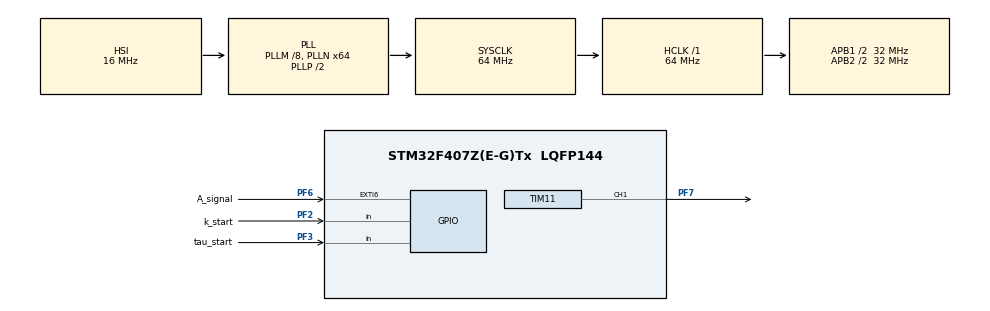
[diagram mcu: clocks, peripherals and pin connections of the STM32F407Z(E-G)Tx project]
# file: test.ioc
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Mcu.Family=STM32F4
Mcu.Name=STM32F407Z(E-G)Tx
Mcu.Package=LQFP144
NVIC.EXTI9_5_IRQn=true\:0\:0\:false\:false\:true\:true\:true\:true
NVIC.PriorityGroup=NVIC_PRIORITYGROUP_4
NVIC.TIM6_DAC_IRQn=true\:0\:0\:false\:false\:true\:true\:true\:true
NVIC.TIM7_IRQn=true\:0\:0\:false\:false\:true\:true\:true\:true
PF2.GPIO_Label=k_start
PF2.Signal=GPIO_Input
PF3.GPIO_Label=tau_start
PF3.Signal=GPIO_Input
PF6.GPIO_Label=A_signal
PF6.Signal=GPXTI6
PF7.Signal=S_TIM11_CH1
ProjectManager.HeapSize=0x200
ProjectManager.StackSize=0x400
ProjectManager.TargetToolchain=STM32CubeIDE
RCC.48MHZClocksFreq_Value=32000000
RCC.AHBFreq_Value=64000000
RCC.APB1CLKDivider=RCC_HCLK_DIV2
RCC.APB1Freq_Value=32000000
RCC.APB1TimFreq_Value=64000000
RCC.APB2CLKDivider=RCC_HCLK_DIV2
RCC.APB2Freq_Value=32000000
RCC.APB2TimFreq_Value=64000000
RCC.CortexFreq_Value=64000000
RCC.HCLKFreq_Value=64000000
RCC.HSE_VALUE=25000000
RCC.HSI_VALUE=16000000
RCC.LSE_VALUE=32768
RCC.PLLM=8
RCC.PLLN=64
RCC.SYSCLKFreq_VALUE=64000000
RCC.SYSCLKSource=RCC_SYSCLKSOURCE_PLLCLK
RCC.VCOOutputFreq_Value=128000000
SH.S_TIM11_CH1.0=TIM11_CH1,PWM Generation1 CH1
TIM10.Period=999
TIM10.Prescaler=63
TIM11.AutoReloadPreload=TIM_AUTORELOAD_PRELOAD_ENABLE
TIM11.Channel=TIM_CHANNEL_1
TIM11.Period=1000
TIM11.Prescaler=3
TIM11.Pulse=500
TIM6.Period=65535
TIM6.Prescaler=15999
TIM7.Period=999
TIM7.Prescaler=6399
VP_TIM10_VS_ClockSourceINT.Mode=Enable_Timer
VP_TIM11_VS_ClockSourceINT.Mode=Enable_Timer
VP_TIM6_VS_ClockSourceINT.Mode=Enable_Timer
VP_TIM7_VS_ClockSourceINT.Mode=Enable_Timer
board=custom

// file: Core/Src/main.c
/* USER CODE BEGIN Header */
/**
  ******************************************************************************
  * @file           : main.c
  * @brief          : Main program body
  ******************************************************************************
  * @attention
  *
  * Copyright (c) 2023 STMicroelectronics.
  * All rights reserved.
  *
  * This software is licensed under terms that can be found in the LICENSE file
  * in the root directory of this software component.
  * If no LICENSE file comes with this software, it is provided AS-IS.
  *
  ******************************************************************************
  */
/* USER CODE END Header */
#include "main.h"

TIM_HandleTypeDef htim6;
TIM_HandleTypeDef htim7;
TIM_HandleTypeDef htim10;
TIM_HandleTypeDef htim11;

/* USER CODE BEGIN PV */
int A_count=0;
int num_A_sample=0;
float rpmNow=0;
float rpmStart,rpmEnd;
float k;
float tau;
enum status{idle, k_calc, tau_calc};
enum status state;
/* USER CODE END PV */

void SystemClock_Config(void);
static void MX_GPIO_Init(void);
static void MX_TIM6_Init(void);
static void MX_TIM7_Init(void);
static void MX_TIM11_Init(void);
static void MX_TIM10_Init(void);

int main(void)
{
  /* USER CODE BEGIN 1 */

	// External Interrupt ISR Handler CallBackFun

  /* USER CODE END 1 */

  /* MCU Configuration--------------------------------------------------------*/

  /* Reset of all peripherals, Initializes the Flash interface and the Systick. */
  HAL_Init();

  /* Configure the system clock */
  SystemClock_Config();

  /* Initialize all configured peripherals */
  MX_GPIO_Init();
  MX_TIM6_Init();
  MX_TIM7_Init();
  MX_TIM11_Init();
  MX_TIM10_Init();
  /* USER CODE BEGIN 2 */
  HAL_TIM_Base_Start_IT(&htim7);

  HAL_TIM_PWM_Start(&htim11, TIM_CHANNEL_1);

  /* USER CODE END 2 */

  /* Infinite loop */
  /* USER CODE BEGIN WHILE */
  while (1)
  {
	  state=idle;
	  if(HAL_GPIO_ReadPin(k_start_GPIO_Port, k_start_Pin)){
		  state = k_calc;
	  }
	  else if(HAL_GPIO_ReadPin(tau_start_GPIO_Port,tau_start_Pin)){
		  state = tau_calc;
	  }

	  TIM11->CCR1=400;
	  rpmStart=(num_A_sample*600)/1024;

	  switch(state)
	  {

	  /*
	  case idle:
		  TIM11->CCR1=400;
		  break;
		  */
	  case k_calc:

		  //TIM11->CCR1=400;
		  //rpm1=(number_A_sampled*600)/1024;
		  TIM11->CCR1=700;
		  HAL_Delay(2000);
		  rpmEnd=(num_A_sample*600)/1024;
		  k = (rpmEnd-rpmStart)*100/((70-40)*12);
		  HAL_Delay(2000);

		  break;

	  case tau_calc:

		  TIM11->CCR1=400;
		  HAL_Delay(2000);
		  TIM11->CCR1=700;
		  HAL_TIM_Base_Start(&htim10);

		  while(1){

			  rpmNow = (num_A_sample*600)/1024;
			  if(rpmNow>=.63*(rpmEnd-rpmStart)){
			  	HAL_TIM_Base_Stop(&htim10);
			  	tau=__HAL_TIM_GetCounter(&htim10);
			  	break;
		          }

		  }
		  break;
	  }

    /* USER CODE END WHILE */

   }
}

void SystemClock_Config(void)
{
  RCC_OscInitTypeDef RCC_OscInitStruct = {0};
  RCC_ClkInitTypeDef RCC_ClkInitStruct = {0};

  /** Configure the main internal regulator output voltage
  */
  __HAL_RCC_PWR_CLK_ENABLE();
  __HAL_PWR_VOLTAGESCALING_CONFIG(PWR_REGULATOR_VOLTAGE_SCALE1);

  /** Initializes the RCC Oscillators according to the specified parameters
  * in the RCC_OscInitTypeDef structure.
  */
  RCC_OscInitStruct.OscillatorType = RCC_OSCILLATORTYPE_HSI;
  RCC_OscInitStruct.HSIState = RCC_HSI_ON;
  RCC_OscInitStruct.HSICalibrationValue = RCC_HSICALIBRATION_DEFAULT;
  RCC_OscInitStruct.PLL.PLLState = RCC_PLL_ON;
  RCC_OscInitStruct.PLL.PLLSource = RCC_PLLSOURCE_HSI;
  RCC_OscInitStruct.PLL.PLLM = 8;
  RCC_OscInitStruct.PLL.PLLN = 64;
  RCC_OscInitStruct.PLL.PLLP = RCC_PLLP_DIV2;
  RCC_OscInitStruct.PLL.PLLQ = 4;
  if (HAL_RCC_OscConfig(&RCC_OscInitStruct) != HAL_OK)
  {
    Error_Handler();
  }

  /** Initializes the CPU, AHB and APB buses clocks
  */
  RCC_ClkInitStruct.ClockType = RCC_CLOCKTYPE_HCLK|RCC_CLOCKTYPE_SYSCLK
                              |RCC_CLOCKTYPE_PCLK1|RCC_CLOCKTYPE_PCLK2;
  RCC_ClkInitStruct.SYSCLKSource = RCC_SYSCLKSOURCE_PLLCLK;
  RCC_ClkInitStruct.AHBCLKDivider = RCC_SYSCLK_DIV1;
  RCC_ClkInitStruct.APB1CLKDivider = RCC_HCLK_DIV2;
  RCC_ClkInitStruct.APB2CLKDivider = RCC_HCLK_DIV2;

  if (HAL_RCC_ClockConfig(&RCC_ClkInitStruct, FLASH_LATENCY_2) != HAL_OK)
  {
    Error_Handler();
  }
}

static void MX_TIM6_Init(void)
{

  TIM_MasterConfigTypeDef sMasterConfig = {0};

  htim6.Instance = TIM6;
  htim6.Init.Prescaler = 15999;
  htim6.Init.CounterMode = TIM_COUNTERMODE_UP;
  htim6.Init.Period = 65535;
  htim6.Init.AutoReloadPreload = TIM_AUTORELOAD_PRELOAD_DISABLE;
  if (HAL_TIM_Base_Init(&htim6) != HAL_OK)
  {
    Error_Handler();
  }
  sMasterConfig.MasterOutputTrigger = TIM_TRGO_RESET;
  sMasterConfig.MasterSlaveMode = TIM_MASTERSLAVEMODE_DISABLE;
  if (HAL_TIMEx_MasterConfigSynchronization(&htim6, &sMasterConfig) != HAL_OK)
  {
    Error_Handler();
  }

}

static void MX_TIM7_Init(void)
{

  TIM_MasterConfigTypeDef sMasterConfig = {0};

  htim7.Instance = TIM7;
  htim7.Init.Prescaler = 6399;
  htim7.Init.CounterMode = TIM_COUNTERMODE_UP;
  htim7.Init.Period = 999;
  htim7.Init.AutoReloadPreload = TIM_AUTORELOAD_PRELOAD_DISABLE;
  if (HAL_TIM_Base_Init(&htim7) != HAL_OK)
  {
    Error_Handler();
  }
  sMasterConfig.MasterOutputTrigger = TIM_TRGO_RESET;
  sMasterConfig.MasterSlaveMode = TIM_MASTERSLAVEMODE_DISABLE;
  if (HAL_TIMEx_MasterConfigSynchronization(&htim7, &sMasterConfig) != HAL_OK)
  {
    Error_Handler();
  }

}

static void MX_TIM10_Init(void)
{

  htim10.Instance = TIM10;
  htim10.Init.Prescaler = 63;
  htim10.Init.CounterMode = TIM_COUNTERMODE_UP;
  htim10.Init.Period = 999;
  htim10.Init.ClockDivision = TIM_CLOCKDIVISION_DIV1;
  htim10.Init.AutoReloadPreload = TIM_AUTORELOAD_PRELOAD_DISABLE;
  if (HAL_TIM_Base_Init(&htim10) != HAL_OK)
  {
    Error_Handler();
  }

}

static void MX_TIM11_Init(void)
{

  TIM_OC_InitTypeDef sConfigOC = {0};

  htim11.Instance = TIM11;
  htim11.Init.Prescaler = 3;
  htim11.Init.CounterMode = TIM_COUNTERMODE_UP;
  htim11.Init.Period = 1000;
  htim11.Init.ClockDivision = TIM_CLOCKDIVISION_DIV1;
  htim11.Init.AutoReloadPreload = TIM_AUTORELOAD_PRELOAD_ENABLE;
  if (HAL_TIM_Base_Init(&htim11) != HAL_OK)
  {
    Error_Handler();
  }
  if (HAL_TIM_PWM_Init(&htim11) != HAL_OK)
  {
    Error_Handler();
  }
  sConfigOC.OCMode = TIM_OCMODE_PWM1;
  sConfigOC.Pulse = 500;
  sConfigOC.OCPolarity = TIM_OCPOLARITY_HIGH;
  sConfigOC.OCFastMode = TIM_OCFAST_DISABLE;
  if (HAL_TIM_PWM_ConfigChannel(&htim11, &sConfigOC, TIM_CHANNEL_1) != HAL_OK)
  {
    Error_Handler();
  }
  HAL_TIM_MspPostInit(&htim11);

}

static void MX_GPIO_Init(void)
{
  GPIO_InitTypeDef GPIO_InitStruct = {0};

  /* GPIO Ports Clock Enable */
  __HAL_RCC_GPIOF_CLK_ENABLE();

  /*Configure GPIO pins : k_start_Pin tau_start_Pin */
  GPIO_InitStruct.Pin = k_start_Pin|tau_start_Pin;
  GPIO_InitStruct.Mode = GPIO_MODE_INPUT;
  GPIO_InitStruct.Pull = GPIO_NOPULL;
  HAL_GPIO_Init(GPIOF, &GPIO_InitStruct);

  /*Configure GPIO pin : A_signal_Pin */
  GPIO_InitStruct.Pin = A_signal_Pin;
  GPIO_InitStruct.Mode = GPIO_MODE_IT_RISING;
  GPIO_InitStruct.Pull = GPIO_NOPULL;
  HAL_GPIO_Init(A_signal_GPIO_Port, &GPIO_InitStruct);

  /* EXTI interrupt init*/
  HAL_NVIC_SetPriority(EXTI9_5_IRQn, 0, 0);
  HAL_NVIC_EnableIRQ(EXTI9_5_IRQn);

}

/* USER CODE BEGIN 4 */
/*

*/
void HAL_TIM_PeriodElapsedCallback(TIM_HandleTypeDef* htim)
{
	if(htim->Instance==TIM7){
		num_A_sample=A_count;
		A_count=0;
		}
}

void HAL_GPIO_EXTI_Callback(uint16_t pin)
{
	if(pin == GPIO_PIN_6){
		A_count++;
		 }
}

/* USER CODE END 4 */

void Error_Handler(void)
{
  __disable_irq();
  while (1)
  {
  }
}
